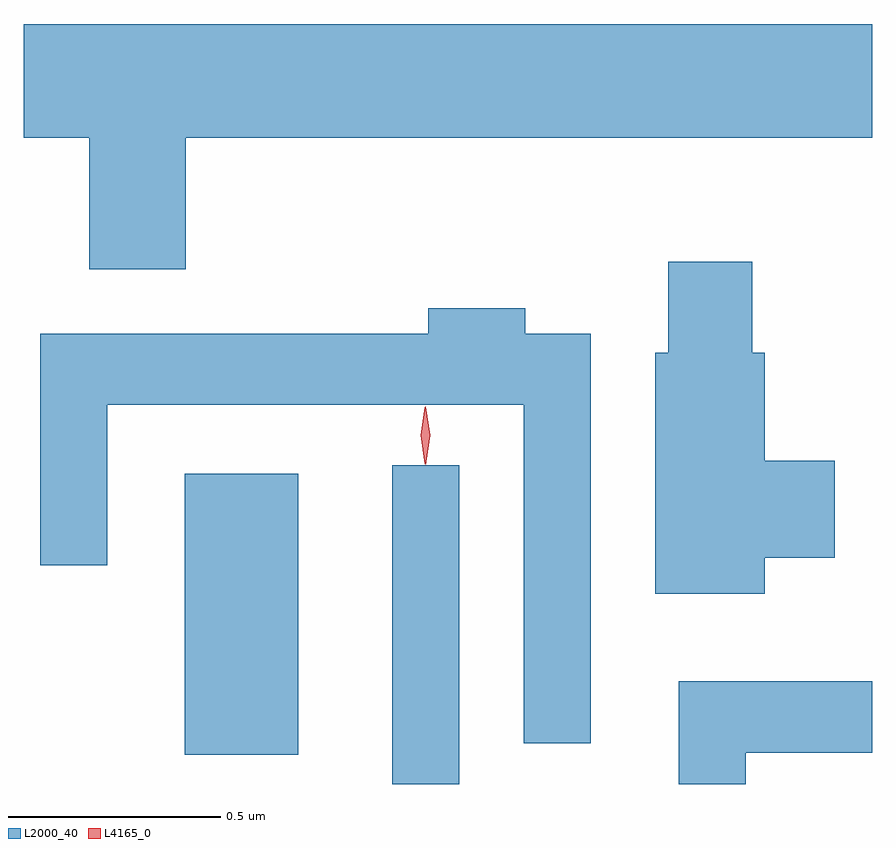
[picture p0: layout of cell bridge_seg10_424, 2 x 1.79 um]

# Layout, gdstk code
import gdstk
lib = gdstk.Library(unit=1e-6, precision=1e-09)
def R(c, l, rs):  # rectangles x0, y0, x1, y1
    for r in rs: c.add(gdstk.rectangle(r[:2], r[2:], *l))
def P(c, l, *ps):  # polygons
    for p in ps: c.add(gdstk.Polygon(p, *l))
L2000_40 = (2000, 40)
L4165_0 = (4165, 0)

bridge_seg10_424 = lib.new_cell('bridge_seg10_424')
R(bridge_seg10_424, L2000_40, [(1415.296,2114.612,1415.454,2115.363), (1414.806,2114.681,1415.074,2115.344)])
P(bridge_seg10_424, L2000_40, [(1414.809,2116.136),(1416.427,2116.136),(1416.427,2116.404),(1414.427,2116.404),(1414.427,2116.136),(1414.581,2116.136),(1414.581,2115.826),(1414.809,2115.826)],
  [(1416.174,2115.146),(1416.339,2115.146),(1416.339,2115.374),(1416.174,2115.374),(1416.174,2115.629),(1416.144,2115.629),(1416.144,2115.844),(1415.946,2115.844),(1415.946,2115.629),(1415.916,2115.629),(1415.916,2115.061),(1416.174,2115.061)],
  [(1415.764,2115.674),(1415.609,2115.674),(1415.609,2115.734),(1415.381,2115.734),(1415.381,2115.674),(1414.466,2115.674),(1414.466,2115.128),(1414.624,2115.128),(1414.624,2115.506),(1415.606,2115.506),(1415.606,2114.708),(1415.764,2114.708)],
  [(1416.129,2114.686),(1416.427,2114.686),(1416.427,2114.854),(1415.971,2114.854),(1415.971,2114.612),(1416.129,2114.612)])
P(bridge_seg10_424, L4165_0, [(1415.372,2115.367),(1415.363,2115.434),(1415.372,2115.5),(1415.373,2115.5),(1415.373,2115.5),(1415.383,2115.434),(1415.373,2115.367),(1415.373,2115.367)],
  [(1415.374,2115.364),(1415.365,2115.434),(1415.374,2115.502),(1415.375,2115.503),(1415.375,2115.502),(1415.385,2115.434),(1415.375,2115.364),(1415.375,2115.364)])

lib.write_gds('bridge_seg10_424.gds')
